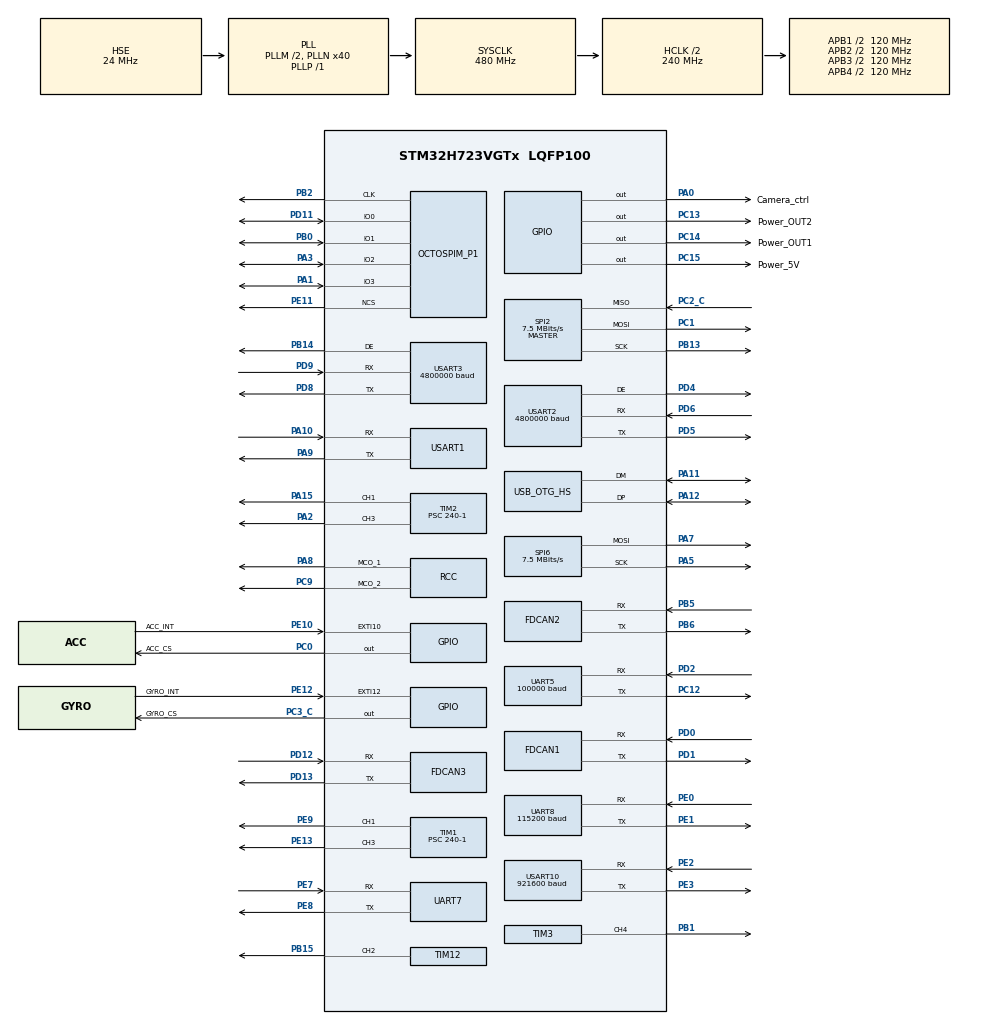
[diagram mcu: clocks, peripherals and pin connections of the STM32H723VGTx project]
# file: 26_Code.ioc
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CORTEX_M7.AccessPermission-Cortex_Memory_Protection_Unit_Region0_Settings=MPU_REGION_PRIV_RO
CORTEX_M7.AccessPermission-Cortex_Memory_Protection_Unit_Region1_Settings=MPU_REGION_FULL_ACCESS
CORTEX_M7.BaseAddress-Cortex_Memory_Protection_Unit_Region0_Settings=0x08000000
CORTEX_M7.BaseAddress-Cortex_Memory_Protection_Unit_Region1_Settings=0x20000000
CORTEX_M7.Enable-Cortex_Memory_Protection_Unit_Region0_Settings=MPU_REGION_ENABLE
CORTEX_M7.Enable-Cortex_Memory_Protection_Unit_Region1_Settings=MPU_REGION_ENABLE
CORTEX_M7.IsCacheable-Cortex_Memory_Protection_Unit_Region0_Settings=MPU_ACCESS_CACHEABLE
CORTEX_M7.MPU_Control=MPU_PRIVILEGED_DEFAULT
CORTEX_M7.Number-Cortex_Memory_Protection_Unit_Region1_Settings=MPU_REGION_NUMBER1
CORTEX_M7.Number-Cortex_Memory_Protection_Unit_Region2_Settings=MPU_REGION_NUMBER2
CORTEX_M7.Number-Cortex_Memory_Protection_Unit_Region3_Settings=MPU_REGION_NUMBER3
CORTEX_M7.Number-Cortex_Memory_Protection_Unit_Region4_Settings=MPU_REGION_NUMBER4
CORTEX_M7.Size-Cortex_Memory_Protection_Unit_Region0_Settings=MPU_REGION_SIZE_1MB
CORTEX_M7.Size-Cortex_Memory_Protection_Unit_Region1_Settings=MPU_REGION_SIZE_128MB
CORTEX_M7.SubRegionDisable-Cortex_Memory_Protection_Unit_Region1_Settings=0xEE
CORTEX_M7.TypeExtField-Cortex_Memory_Protection_Unit_Region0_Settings=MPU_TEX_LEVEL1
CORTEX_M7.TypeExtField-Cortex_Memory_Protection_Unit_Region1_Settings=MPU_TEX_LEVEL1
Dma.Request0=SPI2_RX
Dma.Request1=SPI2_TX
Dma.Request10=USART2_TX
Dma.Request11=USART1_RX
Dma.Request12=USART1_TX
Dma.Request13=UART8_RX
Dma.Request2=UART5_RX
Dma.Request3=UART7_RX
Dma.Request4=UART7_TX
Dma.Request5=USART10_RX
Dma.Request6=USART10_TX
Dma.Request7=USART3_RX
Dma.Request8=USART3_TX
Dma.Request9=USART2_RX
Dma.SPI2_RX.0.Direction=DMA_PERIPH_TO_MEMORY
Dma.SPI2_RX.0.EventEnable=DISABLE
Dma.SPI2_RX.0.FIFOMode=DMA_FIFOMODE_DISABLE
Dma.SPI2_RX.0.Instance=DMA1_Stream0
Dma.SPI2_RX.0.MemDataAlignment=DMA_MDATAALIGN_BYTE
Dma.SPI2_RX.0.MemInc=DMA_MINC_ENABLE
Dma.SPI2_RX.0.Mode=DMA_NORMAL
Dma.SPI2_RX.0.PeriphDataAlignment=DMA_PDATAALIGN_BYTE
Dma.SPI2_RX.0.PeriphInc=DMA_PINC_DISABLE
Dma.SPI2_RX.0.Polarity=HAL_DMAMUX_REQ_GEN_RISING
Dma.SPI2_RX.0.Priority=DMA_PRIORITY_VERY_HIGH
Dma.SPI2_RX.0.RequestNumber=1
Dma.SPI2_RX.0.SignalID=NONE
Dma.SPI2_RX.0.SyncEnable=DISABLE
Dma.SPI2_RX.0.SyncPolarity=HAL_DMAMUX_SYNC_NO_EVENT
Dma.SPI2_RX.0.SyncRequestNumber=1
Dma.SPI2_RX.0.SyncSignalID=NONE
Dma.SPI2_TX.1.Direction=DMA_MEMORY_TO_PERIPH
Dma.SPI2_TX.1.EventEnable=DISABLE
Dma.SPI2_TX.1.FIFOMode=DMA_FIFOMODE_DISABLE
Dma.SPI2_TX.1.Instance=DMA1_Stream1
Dma.SPI2_TX.1.MemDataAlignment=DMA_MDATAALIGN_BYTE
Dma.SPI2_TX.1.MemInc=DMA_MINC_ENABLE
Dma.SPI2_TX.1.Mode=DMA_NORMAL
Dma.SPI2_TX.1.PeriphDataAlignment=DMA_PDATAALIGN_BYTE
Dma.SPI2_TX.1.PeriphInc=DMA_PINC_DISABLE
Dma.SPI2_TX.1.Polarity=HAL_DMAMUX_REQ_GEN_RISING
Dma.SPI2_TX.1.Priority=DMA_PRIORITY_VERY_HIGH
Dma.SPI2_TX.1.RequestNumber=1
Dma.SPI2_TX.1.SignalID=NONE
Dma.SPI2_TX.1.SyncEnable=DISABLE
Dma.SPI2_TX.1.SyncPolarity=HAL_DMAMUX_SYNC_NO_EVENT
Dma.SPI2_TX.1.SyncRequestNumber=1
Dma.SPI2_TX.1.SyncSignalID=NONE
Dma.UART5_RX.2.Direction=DMA_PERIPH_TO_MEMORY
Dma.UART5_RX.2.EventEnable=DISABLE
Dma.UART5_RX.2.FIFOMode=DMA_FIFOMODE_DISABLE
Dma.UART5_RX.2.Instance=DMA1_Stream2
Dma.UART5_RX.2.MemDataAlignment=DMA_MDATAALIGN_BYTE
Dma.UART5_RX.2.MemInc=DMA_MINC_ENABLE
Dma.UART5_RX.2.Mode=DMA_NORMAL
Dma.UART5_RX.2.PeriphDataAlignment=DMA_PDATAALIGN_BYTE
Dma.UART5_RX.2.PeriphInc=DMA_PINC_DISABLE
Dma.UART5_RX.2.Polarity=HAL_DMAMUX_REQ_GEN_RISING
Dma.UART5_RX.2.Priority=DMA_PRIORITY_VERY_HIGH
Dma.UART5_RX.2.RequestNumber=1
Dma.UART5_RX.2.SignalID=NONE
Dma.UART5_RX.2.SyncEnable=DISABLE
Dma.UART5_RX.2.SyncPolarity=HAL_DMAMUX_SYNC_NO_EVENT
Dma.UART5_RX.2.SyncRequestNumber=1
Dma.UART5_RX.2.SyncSignalID=NONE
Dma.UART7_RX.3.Direction=DMA_PERIPH_TO_MEMORY
Dma.UART7_RX.3.EventEnable=DISABLE
Dma.UART7_RX.3.FIFOMode=DMA_FIFOMODE_DISABLE
Dma.UART7_RX.3.Instance=DMA1_Stream3
Dma.UART7_RX.3.MemDataAlignment=DMA_MDATAALIGN_BYTE
Dma.UART7_RX.3.MemInc=DMA_MINC_ENABLE
Dma.UART7_RX.3.Mode=DMA_NORMAL
Dma.UART7_RX.3.PeriphDataAlignment=DMA_PDATAALIGN_BYTE
Dma.UART7_RX.3.PeriphInc=DMA_PINC_DISABLE
Dma.UART7_RX.3.Polarity=HAL_DMAMUX_REQ_GEN_RISING
Dma.UART7_RX.3.Priority=DMA_PRIORITY_VERY_HIGH
Dma.UART7_RX.3.RequestNumber=1
Dma.UART7_RX.3.SignalID=NONE
Dma.UART7_RX.3.SyncEnable=DISABLE
Dma.UART7_RX.3.SyncPolarity=HAL_DMAMUX_SYNC_NO_EVENT
Dma.UART7_RX.3.SyncRequestNumber=1
Dma.UART7_RX.3.SyncSignalID=NONE
Dma.UART7_TX.4.Direction=DMA_MEMORY_TO_PERIPH
Dma.UART7_TX.4.EventEnable=DISABLE
Dma.UART7_TX.4.FIFOMode=DMA_FIFOMODE_DISABLE
Dma.UART7_TX.4.Instance=DMA1_Stream4
Dma.UART7_TX.4.MemDataAlignment=DMA_MDATAALIGN_BYTE
Dma.UART7_TX.4.MemInc=DMA_MINC_ENABLE
Dma.UART7_TX.4.Mode=DMA_NORMAL
Dma.UART7_TX.4.PeriphDataAlignment=DMA_PDATAALIGN_BYTE
Dma.UART7_TX.4.PeriphInc=DMA_PINC_DISABLE
Dma.UART7_TX.4.Polarity=HAL_DMAMUX_REQ_GEN_RISING
Dma.UART7_TX.4.Priority=DMA_PRIORITY_VERY_HIGH
Dma.UART7_TX.4.RequestNumber=1
Dma.UART7_TX.4.SignalID=NONE
Dma.UART7_TX.4.SyncEnable=DISABLE
Dma.UART7_TX.4.SyncPolarity=HAL_DMAMUX_SYNC_NO_EVENT
Dma.UART7_TX.4.SyncRequestNumber=1
Dma.UART7_TX.4.SyncSignalID=NONE
Dma.UART8_RX.13.Direction=DMA_PERIPH_TO_MEMORY
Dma.UART8_RX.13.EventEnable=DISABLE
Dma.UART8_RX.13.FIFOMode=DMA_FIFOMODE_DISABLE
Dma.UART8_RX.13.Instance=DMA2_Stream5
Dma.UART8_RX.13.MemDataAlignment=DMA_MDATAALIGN_BYTE
Dma.UART8_RX.13.MemInc=DMA_MINC_ENABLE
Dma.UART8_RX.13.Mode=DMA_NORMAL
Dma.UART8_RX.13.PeriphDataAlignment=DMA_PDATAALIGN_BYTE
Dma.UART8_RX.13.PeriphInc=DMA_PINC_DISABLE
Dma.UART8_RX.13.Polarity=HAL_DMAMUX_REQ_GEN_RISING
Dma.UART8_RX.13.Priority=DMA_PRIORITY_VERY_HIGH
Dma.UART8_RX.13.RequestNumber=1
Dma.UART8_RX.13.SignalID=NONE
Dma.UART8_RX.13.SyncEnable=DISABLE
Dma.UART8_RX.13.SyncPolarity=HAL_DMAMUX_SYNC_NO_EVENT
Dma.UART8_RX.13.SyncRequestNumber=1
Dma.UART8_RX.13.SyncSignalID=NONE
Dma.USART10_RX.5.Direction=DMA_PERIPH_TO_MEMORY
Dma.USART10_RX.5.EventEnable=DISABLE
Dma.USART10_RX.5.FIFOMode=DMA_FIFOMODE_DISABLE
Dma.USART10_RX.5.Instance=DMA1_Stream5
Dma.USART10_RX.5.MemDataAlignment=DMA_MDATAALIGN_BYTE
Dma.USART10_RX.5.MemInc=DMA_MINC_ENABLE
Dma.USART10_RX.5.Mode=DMA_NORMAL
Dma.USART10_RX.5.PeriphDataAlignment=DMA_PDATAALIGN_BYTE
Dma.USART10_RX.5.PeriphInc=DMA_PINC_DISABLE
Dma.USART10_RX.5.Polarity=HAL_DMAMUX_REQ_GEN_RISING
Dma.USART10_RX.5.Priority=DMA_PRIORITY_VERY_HIGH
Dma.USART10_RX.5.RequestNumber=1
Dma.USART10_RX.5.SignalID=NONE
Dma.USART10_RX.5.SyncEnable=DISABLE
Dma.USART10_RX.5.SyncPolarity=HAL_DMAMUX_SYNC_NO_EVENT
Dma.USART10_RX.5.SyncRequestNumber=1
Dma.USART10_RX.5.SyncSignalID=NONE
Dma.USART10_TX.6.Direction=DMA_MEMORY_TO_PERIPH
Dma.USART10_TX.6.EventEnable=DISABLE
Dma.USART10_TX.6.FIFOMode=DMA_FIFOMODE_DISABLE
Dma.USART10_TX.6.Instance=DMA1_Stream6
Dma.USART10_TX.6.MemDataAlignment=DMA_MDATAALIGN_BYTE
Dma.USART10_TX.6.MemInc=DMA_MINC_ENABLE
Dma.USART10_TX.6.Mode=DMA_NORMAL
Dma.USART10_TX.6.PeriphDataAlignment=DMA_PDATAALIGN_BYTE
Dma.USART10_TX.6.PeriphInc=DMA_PINC_DISABLE
Dma.USART10_TX.6.Polarity=HAL_DMAMUX_REQ_GEN_RISING
Dma.USART10_TX.6.Priority=DMA_PRIORITY_VERY_HIGH
Dma.USART10_TX.6.RequestNumber=1
Dma.USART10_TX.6.SignalID=NONE
Dma.USART10_TX.6.SyncEnable=DISABLE
Dma.USART10_TX.6.SyncPolarity=HAL_DMAMUX_SYNC_NO_EVENT
Dma.USART10_TX.6.SyncRequestNumber=1
Dma.USART10_TX.6.SyncSignalID=NONE
Dma.USART1_RX.11.Direction=DMA_PERIPH_TO_MEMORY
Dma.USART1_RX.11.EventEnable=DISABLE
Dma.USART1_RX.11.FIFOMode=DMA_FIFOMODE_DISABLE
Dma.USART1_RX.11.Instance=DMA2_Stream3
Dma.USART1_RX.11.MemDataAlignment=DMA_MDATAALIGN_BYTE
Dma.USART1_RX.11.MemInc=DMA_MINC_ENABLE
Dma.USART1_RX.11.Mode=DMA_NORMAL
Dma.USART1_RX.11.PeriphDataAlignment=DMA_PDATAALIGN_BYTE
Dma.USART1_RX.11.PeriphInc=DMA_PINC_DISABLE
Dma.USART1_RX.11.Polarity=HAL_DMAMUX_REQ_GEN_RISING
Dma.USART1_RX.11.Priority=DMA_PRIORITY_LOW
Dma.USART1_RX.11.RequestNumber=1
Dma.USART1_RX.11.SignalID=NONE
Dma.USART1_RX.11.SyncEnable=DISABLE
Dma.USART1_RX.11.SyncPolarity=HAL_DMAMUX_SYNC_NO_EVENT
Dma.USART1_RX.11.SyncRequestNumber=1
Dma.USART1_RX.11.SyncSignalID=NONE
Dma.USART1_TX.12.Direction=DMA_MEMORY_TO_PERIPH
Dma.USART1_TX.12.EventEnable=DISABLE
Dma.USART1_TX.12.FIFOMode=DMA_FIFOMODE_DISABLE
Dma.USART1_TX.12.Instance=DMA2_Stream4
Dma.USART1_TX.12.MemDataAlignment=DMA_MDATAALIGN_BYTE
Dma.USART1_TX.12.MemInc=DMA_MINC_ENABLE
Dma.USART1_TX.12.Mode=DMA_NORMAL
Dma.USART1_TX.12.PeriphDataAlignment=DMA_PDATAALIGN_BYTE
Dma.USART1_TX.12.PeriphInc=DMA_PINC_DISABLE
Dma.USART1_TX.12.Polarity=HAL_DMAMUX_REQ_GEN_RISING
Dma.USART1_TX.12.Priority=DMA_PRIORITY_LOW
Dma.USART1_TX.12.RequestNumber=1
Dma.USART1_TX.12.SignalID=NONE
Dma.USART1_TX.12.SyncEnable=DISABLE
Dma.USART1_TX.12.SyncPolarity=HAL_DMAMUX_SYNC_NO_EVENT
Dma.USART1_TX.12.SyncRequestNumber=1
Dma.USART1_TX.12.SyncSignalID=NONE
Dma.USART2_RX.9.Direction=DMA_PERIPH_TO_MEMORY
Dma.USART2_RX.9.EventEnable=DISABLE
Dma.USART2_RX.9.FIFOMode=DMA_FIFOMODE_DISABLE
Dma.USART2_RX.9.Instance=DMA2_Stream1
Dma.USART2_RX.9.MemDataAlignment=DMA_MDATAALIGN_BYTE
Dma.USART2_RX.9.MemInc=DMA_MINC_ENABLE
Dma.USART2_RX.9.Mode=DMA_NORMAL
Dma.USART2_RX.9.PeriphDataAlignment=DMA_PDATAALIGN_BYTE
Dma.USART2_RX.9.PeriphInc=DMA_PINC_DISABLE
Dma.USART2_RX.9.Polarity=HAL_DMAMUX_REQ_GEN_RISING
Dma.USART2_RX.9.Priority=DMA_PRIORITY_VERY_HIGH
Dma.USART2_RX.9.RequestNumber=1
Dma.USART2_RX.9.SignalID=NONE
Dma.USART2_RX.9.SyncEnable=DISABLE
Dma.USART2_RX.9.SyncPolarity=HAL_DMAMUX_SYNC_NO_EVENT
Dma.USART2_RX.9.SyncRequestNumber=1
Dma.USART2_RX.9.SyncSignalID=NONE
Dma.USART2_TX.10.Direction=DMA_MEMORY_TO_PERIPH
Dma.USART2_TX.10.EventEnable=DISABLE
Dma.USART2_TX.10.FIFOMode=DMA_FIFOMODE_DISABLE
Dma.USART2_TX.10.Instance=DMA2_Stream2
Dma.USART2_TX.10.MemDataAlignment=DMA_MDATAALIGN_BYTE
Dma.USART2_TX.10.MemInc=DMA_MINC_ENABLE
Dma.USART2_TX.10.Mode=DMA_NORMAL
Dma.USART2_TX.10.PeriphDataAlignment=DMA_PDATAALIGN_BYTE
Dma.USART2_TX.10.PeriphInc=DMA_PINC_DISABLE
Dma.USART2_TX.10.Polarity=HAL_DMAMUX_REQ_GEN_RISING
Dma.USART2_TX.10.Priority=DMA_PRIORITY_VERY_HIGH
Dma.USART2_TX.10.RequestNumber=1
Dma.USART2_TX.10.SignalID=NONE
Dma.USART2_TX.10.SyncEnable=DISABLE
Dma.USART2_TX.10.SyncPolarity=HAL_DMAMUX_SYNC_NO_EVENT
Dma.USART2_TX.10.SyncRequestNumber=1
Dma.USART2_TX.10.SyncSignalID=NONE
Dma.USART3_RX.7.Direction=DMA_PERIPH_TO_MEMORY
Dma.USART3_RX.7.EventEnable=DISABLE
Dma.USART3_RX.7.FIFOMode=DMA_FIFOMODE_DISABLE
Dma.USART3_RX.7.Instance=DMA1_Stream7
Dma.USART3_RX.7.MemDataAlignment=DMA_MDATAALIGN_BYTE
Dma.USART3_RX.7.MemInc=DMA_MINC_ENABLE
Dma.USART3_RX.7.Mode=DMA_NORMAL
Dma.USART3_RX.7.PeriphDataAlignment=DMA_PDATAALIGN_BYTE
Dma.USART3_RX.7.PeriphInc=DMA_PINC_DISABLE
Dma.USART3_RX.7.Polarity=HAL_DMAMUX_REQ_GEN_RISING
Dma.USART3_RX.7.Priority=DMA_PRIORITY_VERY_HIGH
Dma.USART3_RX.7.RequestNumber=1
Dma.USART3_RX.7.SignalID=NONE
Dma.USART3_RX.7.SyncEnable=DISABLE
Dma.USART3_RX.7.SyncPolarity=HAL_DMAMUX_SYNC_NO_EVENT
Dma.USART3_RX.7.SyncRequestNumber=1
Dma.USART3_RX.7.SyncSignalID=NONE
Dma.USART3_TX.8.Direction=DMA_MEMORY_TO_PERIPH
Dma.USART3_TX.8.EventEnable=DISABLE
Dma.USART3_TX.8.FIFOMode=DMA_FIFOMODE_DISABLE
Dma.USART3_TX.8.Instance=DMA2_Stream0
Dma.USART3_TX.8.MemDataAlignment=DMA_MDATAALIGN_BYTE
Dma.USART3_TX.8.MemInc=DMA_MINC_ENABLE
Dma.USART3_TX.8.Mode=DMA_NORMAL
Dma.USART3_TX.8.PeriphDataAlignment=DMA_PDATAALIGN_BYTE
Dma.USART3_TX.8.PeriphInc=DMA_PINC_DISABLE
Dma.USART3_TX.8.Polarity=HAL_DMAMUX_REQ_GEN_RISING
Dma.USART3_TX.8.Priority=DMA_PRIORITY_VERY_HIGH
Dma.USART3_TX.8.RequestNumber=1
Dma.USART3_TX.8.SignalID=NONE
Dma.USART3_TX.8.SyncEnable=DISABLE
Dma.USART3_TX.8.SyncPolarity=HAL_DMAMUX_SYNC_NO_EVENT
Dma.USART3_TX.8.SyncRequestNumber=1
Dma.USART3_TX.8.SyncSignalID=NONE
FDCAN1.AutoRetransmission=DISABLE
FDCAN1.CalculateBaudRateNominal=1000000
FDCAN1.CalculateTimeBitNominal=1000
FDCAN1.CalculateTimeQuantumNominal=25.0
FDCAN1.DataPrescaler=3
FDCAN1.DataSyncJumpWidth=10
FDCAN1.DataTimeSeg1=29
FDCAN1.DataTimeSeg2=10
FDCAN1.NominalPrescaler=3
FDCAN1.NominalSyncJumpWidth=10
FDCAN1.NominalTimeSeg1=29
FDCAN1.NominalTimeSeg2=10
FDCAN1.RxFifo0ElmtsNbr=4
FDCAN1.StdFiltersNbr=1
FDCAN1.TxFifoQueueElmtsNbr=32
FDCAN2.AutoRetransmission=DISABLE
FDCAN2.CalculateBaudRateNominal=1000000
FDCAN2.CalculateTimeBitNominal=1000
FDCAN2.CalculateTimeQuantumNominal=25.0
FDCAN2.DataPrescaler=3
FDCAN2.DataSyncJumpWidth=10
FDCAN2.DataTimeSeg1=29
FDCAN2.DataTimeSeg2=10
FDCAN2.MessageRAMOffset=0x406
FDCAN2.NominalPrescaler=3
FDCAN2.NominalSyncJumpWidth=10
FDCAN2.NominalTimeSeg1=29
FDCAN2.NominalTimeSeg2=10
FDCAN2.RxFifo0ElmtsNbr=4
FDCAN2.StdFiltersNbr=1
FDCAN2.TxFifoQueueElmtsNbr=32
FDCAN3.AutoRetransmission=DISABLE
FDCAN3.CalculateBaudRateNominal=1000000
FDCAN3.CalculateTimeBitNominal=1000
FDCAN3.CalculateTimeQuantumNominal=25.0
FDCAN3.DataPrescaler=3
FDCAN3.DataSyncJumpWidth=10
FDCAN3.DataTimeSeg1=29
FDCAN3.DataTimeSeg2=10
FDCAN3.MessageRAMOffset=0x812
FDCAN3.NominalPrescaler=3
FDCAN3.NominalSyncJumpWidth=10
FDCAN3.NominalTimeSeg1=29
FDCAN3.NominalTimeSeg2=10
FDCAN3.RxFifo0ElmtsNbr=4
FDCAN3.StdFiltersNbr=1
FDCAN3.TxFifoQueueElmtsNbr=32
FREERTOS.Tasks01=Remote_control,24,512,Remote_control_Task,Default,NULL,Dynamic,NULL,NULL;Gimbal,8,512,Gimbal_Task,Default,NULL,Dynamic,NULL,NULL;Chassis,8,1024,Chassis_Task,Default,NULL,Dynamic,NULL,NULL;Motor_control,8,256,Motor_control_Task,Default,NULL,Dynamic,NULL,NULL;Shoot,8,256,Shoot_Task,Default,NULL,Dynamic,NULL,NULL;Referee,8,512,Referee_Task,Default,NULL,Dynamic,NULL,NULL;Log_and_debug,8,256,Log_and_debug_Task,Default,NULL,Dynamic,NULL,NULL
FREERTOS.configENABLE_FPU=1
FREERTOS.configUSE_IDLE_HOOK=1
Mcu.Family=STM32H7
Mcu.Name=STM32H723VGTx
Mcu.Package=LQFP100
NVIC.DMA1_Stream0_IRQn=true\:5\:0\:false\:false\:true\:true\:false\:true\:true
NVIC.DMA1_Stream1_IRQn=true\:5\:0\:false\:false\:true\:true\:false\:true\:true
NVIC.DMA1_Stream2_IRQn=true\:5\:0\:false\:false\:true\:true\:false\:true\:true
NVIC.DMA1_Stream3_IRQn=true\:5\:0\:true\:false\:true\:true\:false\:true\:true
NVIC.DMA1_Stream4_IRQn=true\:5\:0\:true\:false\:true\:true\:false\:true\:true
NVIC.DMA1_Stream5_IRQn=true\:5\:0\:false\:false\:true\:true\:false\:true\:true
NVIC.DMA1_Stream6_IRQn=true\:5\:0\:false\:false\:true\:true\:false\:true\:true
NVIC.DMA1_Stream7_IRQn=true\:5\:0\:false\:false\:true\:true\:false\:true\:true
NVIC.DMA2_Stream0_IRQn=true\:5\:0\:false\:false\:true\:true\:false\:true\:true
NVIC.DMA2_Stream1_IRQn=true\:5\:0\:false\:false\:true\:true\:false\:true\:true
NVIC.DMA2_Stream2_IRQn=true\:5\:0\:false\:false\:true\:true\:false\:true\:true
NVIC.DMA2_Stream3_IRQn=true\:5\:0\:false\:false\:true\:true\:false\:true\:true
NVIC.DMA2_Stream4_IRQn=true\:5\:0\:false\:false\:true\:true\:false\:true\:true
NVIC.DMA2_Stream5_IRQn=true\:5\:0\:false\:false\:true\:true\:false\:true\:true
NVIC.FDCAN1_IT0_IRQn=true\:5\:0\:false\:false\:true\:true\:true\:true\:true
NVIC.FDCAN1_IT1_IRQn=true\:5\:0\:false\:false\:true\:true\:true\:true\:true
NVIC.FDCAN2_IT0_IRQn=true\:5\:0\:false\:false\:true\:true\:true\:true\:true
NVIC.FDCAN2_IT1_IRQn=true\:5\:0\:false\:false\:true\:true\:true\:true\:true
NVIC.FDCAN3_IT0_IRQn=true\:5\:0\:false\:false\:true\:true\:true\:true\:true
NVIC.FDCAN3_IT1_IRQn=true\:5\:0\:false\:false\:true\:true\:true\:true\:true
NVIC.OTG_HS_IRQn=true\:5\:0\:false\:false\:true\:true\:true\:true\:true
NVIC.PriorityGroup=NVIC_PRIORITYGROUP_4
NVIC.SPI2_IRQn=true\:5\:0\:false\:false\:true\:true\:true\:true\:true
NVIC.TIM23_IRQn=true\:15\:0\:true\:false\:true\:false\:false\:true\:true
NVIC.TIM8_BRK_TIM12_IRQn=true\:5\:0\:false\:false\:true\:true\:true\:true\:true
NVIC.TIM8_TRG_COM_TIM14_IRQn=true\:5\:0\:false\:false\:true\:true\:true\:true\:true
NVIC.TIM8_UP_TIM13_IRQn=true\:5\:0\:true\:false\:true\:true\:true\:true\:true
NVIC.TimeBase=TIM23_IRQn
NVIC.TimeBaseIP=TIM23
NVIC.UART5_IRQn=true\:5\:0\:false\:false\:true\:true\:true\:true\:true
NVIC.UART7_IRQn=true\:5\:0\:true\:false\:true\:true\:true\:true\:true
NVIC.UART8_IRQn=true\:5\:0\:false\:false\:true\:true\:true\:true\:true
NVIC.USART10_IRQn=true\:5\:0\:false\:false\:true\:true\:true\:true\:true
NVIC.USART1_IRQn=true\:5\:0\:false\:false\:true\:true\:true\:true\:true
NVIC.USART2_IRQn=true\:5\:0\:false\:false\:true\:true\:true\:true\:true
NVIC.USART3_IRQn=true\:5\:0\:false\:false\:true\:true\:true\:true\:true
OCTOSPI2.ClockMode=HAL_OSPI_CLOCK_MODE_3
OCTOSPI2.ClockPrescaler=3
OCTOSPI2.DeviceSize=23
OCTOSPI2.DeviceType=SPI_DEVICE_FLASH
OCTOSPI2.FifoThreshold=8
OCTOSPI2.SampleShifting=HAL_OSPI_SAMPLE_SHIFTING_HALFCYCLE
PA0.GPIO_Label=Camera_ctrl
PA0.GPIO_PuPd=GPIO_PULLDOWN
PA0.GPIO_Speed=GPIO_SPEED_FREQ_VERY_HIGH
PA0.PinState=GPIO_PIN_SET
PA0.Signal=GPIO_Output
PA1.Mode=OCTOSPI2_IOL_Port1L
PA1.Signal=OCTOSPIM_P1_IO3
PA10.Mode=Asynchronous
PA10.Signal=USART1_RX
PA11.Mode=Device_Only_FS
PA11.Signal=USB_OTG_HS_DM
PA12.Mode=Device_Only_FS
PA12.Signal=USB_OTG_HS_DP
PA13(JTMS/SWDIO).Mode=Serial_Wire
PA13(JTMS/SWDIO).Signal=DEBUG_JTMS-SWDIO
PA14(JTCK/SWCLK).Mode=Serial_Wire
PA14(JTCK/SWCLK).Signal=DEBUG_JTCK-SWCLK
PA15(JTDI).Signal=S_TIM2_CH1_ETR
PA2.Signal=S_TIM2_CH3
PA3.Mode=OCTOSPI2_IOL_Port1L
PA3.Signal=OCTOSPIM_P1_IO2
PA5.GPIO_Speed=GPIO_SPEED_FREQ_VERY_HIGH
PA5.Mode=TX_Only_Simplex_Unidirect_Master
PA5.Signal=SPI6_SCK
PA7.Mode=TX_Only_Simplex_Unidirect_Master
PA7.Signal=SPI6_MOSI
PA8.Mode=Clock-out-1
PA8.Signal=RCC_MCO_1
PA9.Mode=Asynchronous
PA9.Signal=USART1_TX
PB0.Mode=OCTOSPI2_IOL_Port1L
PB0.Signal=OCTOSPIM_P1_IO1
PB1.Signal=S_TIM3_CH4
PB13.Mode=Full_Duplex_Master
PB13.Signal=SPI2_SCK
PB14.Mode=Hardware Flow Control (RS485)
PB14.Signal=USART3_DE
PB15.Signal=S_TIM12_CH2
PB2.Mode=O2_P1_CLK
PB2.Signal=OCTOSPIM_P1_CLK
PB5.Mode=FDCAN_Activate
PB5.Signal=FDCAN2_RX
PB6.Mode=FDCAN_Activate
PB6.Signal=FDCAN2_TX
PC0.GPIO_Label=ACC_CS
PC0.GPIO_Speed=GPIO_SPEED_FREQ_VERY_HIGH
PC0.PinState=GPIO_PIN_SET
PC0.Signal=GPIO_Output
PC1.Mode=Full_Duplex_Master
PC1.Signal=SPI2_MOSI
PC12.Mode=Asynchronous
PC12.Signal=UART5_TX
PC13.GPIO_Label=Power_OUT2
PC13.PinState=GPIO_PIN_SET
PC13.Signal=GPIO_Output
PC14-OSC32_IN.GPIO_Label=Power_OUT1
PC14-OSC32_IN.PinState=GPIO_PIN_SET
PC14-OSC32_IN.Signal=GPIO_Output
PC15-OSC32_OUT.GPIO_Label=Power_5V
PC15-OSC32_OUT.Signal=GPIO_Output
PC2_C.Mode=Full_Duplex_Master
PC2_C.Signal=SPI2_MISO
PC3_C.GPIO_Label=GYRO_CS
PC3_C.GPIO_Speed=GPIO_SPEED_FREQ_VERY_HIGH
PC3_C.PinState=GPIO_PIN_SET
PC3_C.Signal=GPIO_Output
PC9.Mode=Clock-out-2
PC9.Signal=RCC_MCO_2
PD0.Mode=FDCAN_Activate
PD0.Signal=FDCAN1_RX
PD1.Mode=FDCAN_Activate
PD1.Signal=FDCAN1_TX
PD11.Mode=OCTOSPI2_IOL_Port1L
PD11.Signal=OCTOSPIM_P1_IO0
PD12.Mode=FDCAN_Activate
PD12.Signal=FDCAN3_RX
PD13.Mode=FDCAN_Activate
PD13.Signal=FDCAN3_TX
PD2.Mode=Asynchronous
PD2.Signal=UART5_RX
PD4.Mode=Hardware Flow Control (RS485)
PD4.Signal=USART2_DE
PD5.Mode=Asynchronous
PD5.Signal=USART2_TX
PD6.Mode=Asynchronous
PD6.Signal=USART2_RX
PD8.Mode=Asynchronous
PD8.Signal=USART3_TX
PD9.Mode=Asynchronous
PD9.Signal=USART3_RX
PE0.GPIO_Speed=GPIO_SPEED_FREQ_VERY_HIGH
PE0.Mode=Asynchronous
PE0.Signal=UART8_RX
PE1.GPIO_Speed=GPIO_SPEED_FREQ_VERY_HIGH
PE1.Mode=Asynchronous
PE1.Signal=UART8_TX
PE10.GPIO_Label=ACC_INT
PE10.Signal=GPXTI10
PE11.Mode=OCTOSPI2_Port1_NCS
PE11.Signal=OCTOSPIM_P1_NCS
PE12.GPIO_Label=GYRO_INT
PE12.Signal=GPXTI12
PE13.Signal=S_TIM1_CH3
PE2.GPIO_Speed=GPIO_SPEED_FREQ_VERY_HIGH
PE2.Mode=Asynchronous
PE2.Signal=USART10_RX
PE3.GPIO_Speed=GPIO_SPEED_FREQ_VERY_HIGH
PE3.Mode=Asynchronous
PE3.Signal=USART10_TX
PE7.GPIO_Speed=GPIO_SPEED_FREQ_VERY_HIGH
PE7.Mode=Asynchronous
PE7.Signal=UART7_RX
PE8.GPIO_Speed=GPIO_SPEED_FREQ_VERY_HIGH
PE8.Mode=Asynchronous
PE8.Signal=UART7_TX
PE9.Signal=S_TIM1_CH1
PH0-OSC_IN.Mode=HSE-External-Oscillator
PH0-OSC_IN.Signal=RCC_OSC_IN
PH1-OSC_OUT.Mode=HSE-External-Oscillator
PH1-OSC_OUT.Signal=RCC_OSC_OUT
ProjectManager.HeapSize=0x200
ProjectManager.StackSize=0x400
ProjectManager.TargetToolchain=Makefile
RCC.ADCFreq_Value=48375000
RCC.APB1Freq_Value=120000000
RCC.APB2Freq_Value=120000000
RCC.APB3Freq_Value=120000000
RCC.APB4Freq_Value=120000000
RCC.CortexFreq_Value=480000000
RCC.D1PPRE=RCC_APB3_DIV2
RCC.D2PPRE1=RCC_APB1_DIV2
RCC.D2PPRE2=RCC_APB2_DIV2
RCC.D3PPRE=RCC_APB4_DIV2
RCC.DIVM1=2
RCC.DIVN1=40
RCC.DIVP1=1
RCC.DIVQ1=4
RCC.HCLKFreq_Value=240000000
RCC.HPRE=RCC_HCLK_DIV2
RCC.HSE_VALUE=24000000
RCC.PLLFRACN=0
RCC.PLLSourceVirtual=RCC_PLLSOURCE_HSE
RCC.SYSCLKFreq_VALUE=480000000
RCC.SYSCLKSource=RCC_SYSCLKSOURCE_PLLCLK
RCC.USBCLockSelection=RCC_USBCLKSOURCE_HSI48
RCC.USBFreq_Value=48000000
SH.S_TIM12_CH2.0=TIM12_CH2,PWM Generation2 CH2
SH.S_TIM1_CH1.0=TIM1_CH1,PWM Generation1 CH1
SH.S_TIM1_CH3.0=TIM1_CH3,PWM Generation3 CH3
SH.S_TIM2_CH1_ETR.0=TIM2_CH1,PWM Generation1 CH1
SH.S_TIM2_CH3.0=TIM2_CH3,PWM Generation3 CH3
SH.S_TIM3_CH4.0=TIM3_CH4,PWM Generation4 CH4
SPI2.BaudRatePrescaler=SPI_BAUDRATEPRESCALER_16
SPI2.CLKPhase=SPI_PHASE_2EDGE
SPI2.CLKPolarity=SPI_POLARITY_HIGH
SPI2.CalculateBaudRate=7.5 MBits/s
SPI2.DataSize=SPI_DATASIZE_8BIT
SPI2.Direction=SPI_DIRECTION_2LINES
SPI2.Mode=SPI_MODE_MASTER
SPI2.VirtualType=VM_MASTER
SPI6.BaudRatePrescaler=SPI_BAUDRATEPRESCALER_16
SPI6.CLKPhase=SPI_PHASE_2EDGE
SPI6.CLKPolarity=SPI_POLARITY_HIGH
SPI6.CalculateBaudRate=7.5 MBits/s
SPI6.DataSize=SPI_DATASIZE_8BIT
SPI6.Direction=SPI_DIRECTION_2LINES_TXONLY
SPI6.Mode=SPI_MODE_MASTER
SPI6.VirtualType=VM_MASTER
TIM1.Channel-PWM\ Generation1\ CH1=TIM_CHANNEL_1
TIM1.Channel-PWM\ Generation3\ CH3=TIM_CHANNEL_3
TIM1.Period=2000-1
TIM1.Prescaler=240-1
TIM12.Channel-PWM\ Generation2\ CH2=TIM_CHANNEL_2
TIM12.Period=250-1
TIM12.Prescaler=240-1
TIM13.Period=100-1
TIM13.Prescaler=2400-1
TIM14.Period=500-1
TIM14.Prescaler=2400-1
TIM2.Channel-PWM\ Generation1\ CH1=TIM_CHANNEL_1
TIM2.Channel-PWM\ Generation3\ CH3=TIM_CHANNEL_3
TIM2.Period=2000-1
TIM2.Prescaler=240-1
TIM3.Channel-PWM\ Generation4\ CH4=TIM_CHANNEL_4
TIM3.Period=20000-1
TIM3.Prescaler=240-1
UART5.BaudRate=100000
UART5.Parity=PARITY_EVEN
UART5.StopBits=UART_STOPBITS_1
UART5.WordLength=WORDLENGTH_9B
UART8.BaudRate=115200
UART8.Mode=MODE_RX
USART1.VirtualMode-Asynchronous=VM_ASYNC
USART10.BaudRate=921600
USART10.VirtualMode=VM_ASYNC
USART2.BaudRate=4800000
USART2.VirtualMode-Asynchronous=VM_ASYNC
USART2.VirtualMode-Hardware\ Flow\ Control\ (RS485)=VM_ASYNC
USART3.BaudRate=4800000
USART3.VirtualMode-Asynchronous=VM_ASYNC
USART3.VirtualMode-Hardware\ Flow\ Control\ (RS485)=VM_ASYNC
USB_DEVICE.CLASS_NAME_HS=CDC
USB_DEVICE.VirtualMode=Cdc
USB_DEVICE.VirtualModeHS=Cdc_HS
USB_OTG_HS.VirtualMode-Device_Only_FS=Device_Only_FS
VP_FREERTOS_VS_CMSIS_V2.Mode=CMSIS_V2
VP_IWDG1_VS_IWDG.Mode=IWDG_Activate
VP_MEMORYMAP_VS_MEMORYMAP.Mode=CurAppReg
VP_OCTOSPI2_VS_quad.Mode=quad_mode
VP_SYS_VS_tim23.Mode=TIM23
VP_TIM12_VS_ClockSourceINT.Mode=Internal
VP_TIM13_VS_ClockSourceINT.Mode=Enable_Timer
VP_TIM14_VS_ClockSourceINT.Mode=Enable_Timer
VP_USB_DEVICE_VS_USB_DEVICE_CDC_HS.Mode=CDC_HS
board=custom

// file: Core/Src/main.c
/* USER CODE BEGIN Header */
/**
  ******************************************************************************
  * @file           : main.c
  * @brief          : Main program body
  ******************************************************************************
  * @attention
  *
  * Copyright (c) 2025 STMicroelectronics.
  * All rights reserved.
  *
  * This software is licensed under terms that can be found in the LICENSE file
  * in the root directory of this software component.
  * If no LICENSE file comes with this software, it is provided AS-IS.
  *
  ******************************************************************************
  */
/* USER CODE END Header */
#include "main.h"
#include "cmsis_os.h"
#include "dma.h"
#include "fdcan.h"
#include "iwdg.h"
#include "memorymap.h"
#include "octospi.h"
#include "spi.h"
#include "tim.h"
#include "usart.h"
#include "usb_device.h"
#include "gpio.h"

/* USER CODE BEGIN Includes */
#include "UART_data_txrx.h"
#include "CAN_receive_send.h"

#include "motor.h"
#include "supercup.h"
#include "IMU_updata.h"
#include "dm_imu.h"
#include "LED.h"
#include "Power_switch.h"
#include "referee_system.h"

#include "music.h"
#include "Chassis_helm.h"
#include "Gimbal.h"
#include "shoot.h"
#include "Auto_control.h"
#include "Global_status.h"

/* USER CODE END Includes */

/* USER CODE BEGIN PV */
static uint32_t tick_ms=0;
/* USER CODE END PV */

void SystemClock_Config(void);
static void MPU_Config(void);
void MX_FREERTOS_Init(void);

/* USER CODE BEGIN 0 */
HAL_StatusTypeDef ITsta;
extern DMA_HandleTypeDef hdma_uart7_rx;
/* USER CODE END 0 */

int main(void)
{

  /* MPU Configuration--------------------------------------------------------*/
  MPU_Config();

  /* MCU Configuration--------------------------------------------------------*/

  /* Reset of all peripherals, Initializes the Flash interface and the Systick. */
  HAL_Init();

  /* Configure the system clock */
  SystemClock_Config();

  /* Initialize all configured peripherals */
  MX_GPIO_Init();
  MX_DMA_Init();
  MX_FDCAN1_Init();
  MX_FDCAN2_Init();
  MX_SPI2_Init();
  MX_TIM3_Init();
  MX_TIM13_Init();
  MX_TIM14_Init();
  MX_SPI6_Init();
  MX_UART5_Init();
  MX_UART7_Init();
  MX_USART10_UART_Init();
  MX_FDCAN3_Init();
  MX_OCTOSPI2_Init();
  MX_IWDG1_Init();
  MX_USART2_UART_Init();
  MX_USART3_UART_Init();
  MX_USART1_UART_Init();
  MX_TIM12_Init();
  MX_TIM1_Init();
  MX_TIM2_Init();
  MX_UART8_Init();
  /* USER CODE BEGIN 2 */
 HAL_IWDG_Refresh(&hiwdg1);
 /*INIT*/
  Uart_Init();
  Can_Init();
  Refree_system_init();

  IMU_Init();
  HAL_IWDG_Refresh(&hiwdg1);
  HAL_GPIO_WritePin(Power_5V_GPIO_Port, Power_5V_Pin, GPIO_PIN_SET);
  HAL_GPIO_WritePin(Camera_ctrl_GPIO_Port, Camera_ctrl_Pin, GPIO_PIN_SET);
  HAL_TIM_Base_Start_IT(&htim14);
  /* USER CODE END 2 */

  /* Init scheduler */
  osKernelInitialize();

  /* Call init function for freertos objects (in cmsis_os2.c) */
  MX_FREERTOS_Init();

  /* Start scheduler */
  osKernelStart();

  /* We should never get here as control is now taken by the scheduler */

  /* Infinite loop */
  while (1)
  {

  }
}

void SystemClock_Config(void)
{
  RCC_OscInitTypeDef RCC_OscInitStruct = {0};
  RCC_ClkInitTypeDef RCC_ClkInitStruct = {0};

  /** Supply configuration update enable
  */
  HAL_PWREx_ConfigSupply(PWR_LDO_SUPPLY);

  /** Configure the main internal regulator output voltage
  */
  __HAL_PWR_VOLTAGESCALING_CONFIG(PWR_REGULATOR_VOLTAGE_SCALE0);

  while(!__HAL_PWR_GET_FLAG(PWR_FLAG_VOSRDY)) {}

  /** Initializes the RCC Oscillators according to the specified parameters
  * in the RCC_OscInitTypeDef structure.
  */
  RCC_OscInitStruct.OscillatorType = RCC_OSCILLATORTYPE_HSI48|RCC_OSCILLATORTYPE_HSI
                              |RCC_OSCILLATORTYPE_LSI|RCC_OSCILLATORTYPE_HSE;
  RCC_OscInitStruct.HSEState = RCC_HSE_ON;
  RCC_OscInitStruct.HSIState = RCC_HSI_DIV1;
  RCC_OscInitStruct.HSICalibrationValue = 64;
  RCC_OscInitStruct.LSIState = RCC_LSI_ON;
  RCC_OscInitStruct.HSI48State = RCC_HSI48_ON;
  RCC_OscInitStruct.PLL.PLLState = RCC_PLL_ON;
  RCC_OscInitStruct.PLL.PLLSource = RCC_PLLSOURCE_HSE;
  RCC_OscInitStruct.PLL.PLLM = 2;
  RCC_OscInitStruct.PLL.PLLN = 40;
  RCC_OscInitStruct.PLL.PLLP = 1;
  RCC_OscInitStruct.PLL.PLLQ = 4;
  RCC_OscInitStruct.PLL.PLLR = 2;
  RCC_OscInitStruct.PLL.PLLRGE = RCC_PLL1VCIRANGE_3;
  RCC_OscInitStruct.PLL.PLLVCOSEL = RCC_PLL1VCOWIDE;
  RCC_OscInitStruct.PLL.PLLFRACN = 0;
  if (HAL_RCC_OscConfig(&RCC_OscInitStruct) != HAL_OK)
  {
    Error_Handler();
  }

  /** Initializes the CPU, AHB and APB buses clocks
  */
  RCC_ClkInitStruct.ClockType = RCC_CLOCKTYPE_HCLK|RCC_CLOCKTYPE_SYSCLK
                              |RCC_CLOCKTYPE_PCLK1|RCC_CLOCKTYPE_PCLK2
                              |RCC_CLOCKTYPE_D3PCLK1|RCC_CLOCKTYPE_D1PCLK1;
  RCC_ClkInitStruct.SYSCLKSource = RCC_SYSCLKSOURCE_PLLCLK;
  RCC_ClkInitStruct.SYSCLKDivider = RCC_SYSCLK_DIV1;
  RCC_ClkInitStruct.AHBCLKDivider = RCC_HCLK_DIV2;
  RCC_ClkInitStruct.APB3CLKDivider = RCC_APB3_DIV2;
  RCC_ClkInitStruct.APB1CLKDivider = RCC_APB1_DIV2;
  RCC_ClkInitStruct.APB2CLKDivider = RCC_APB2_DIV2;
  RCC_ClkInitStruct.APB4CLKDivider = RCC_APB4_DIV2;

  if (HAL_RCC_ClockConfig(&RCC_ClkInitStruct, FLASH_LATENCY_3) != HAL_OK)
  {
    Error_Handler();
  }
  HAL_RCC_MCOConfig(RCC_MCO1, RCC_MCO1SOURCE_HSI, RCC_MCODIV_1);
  HAL_RCC_MCOConfig(RCC_MCO2, RCC_MCO2SOURCE_SYSCLK, RCC_MCODIV_1);
}

 /* MPU Configuration */

void MPU_Config(void)
{
  MPU_Region_InitTypeDef MPU_InitStruct = {0};

  /* Disables the MPU */
  HAL_MPU_Disable();

  /** Initializes and configures the Region and the memory to be protected
  */
  MPU_InitStruct.Enable = MPU_REGION_ENABLE;
  MPU_InitStruct.Number = MPU_REGION_NUMBER0;
  MPU_InitStruct.BaseAddress = 0x08000000;
  MPU_InitStruct.Size = MPU_REGION_SIZE_1MB;
  MPU_InitStruct.SubRegionDisable = 0x0;
  MPU_InitStruct.TypeExtField = MPU_TEX_LEVEL1;
  MPU_InitStruct.AccessPermission = MPU_REGION_PRIV_RO;
  MPU_InitStruct.DisableExec = MPU_INSTRUCTION_ACCESS_ENABLE;
  MPU_InitStruct.IsShareable = MPU_ACCESS_NOT_SHAREABLE;
  MPU_InitStruct.IsCacheable = MPU_ACCESS_CACHEABLE;
  MPU_InitStruct.IsBufferable = MPU_ACCESS_NOT_BUFFERABLE;

  HAL_MPU_ConfigRegion(&MPU_InitStruct);

  /** Initializes and configures the Region and the memory to be protected
  */
  MPU_InitStruct.Number = MPU_REGION_NUMBER1;
  MPU_InitStruct.BaseAddress = 0x20000000;
  MPU_InitStruct.Size = MPU_REGION_SIZE_128MB;
  MPU_InitStruct.SubRegionDisable = 0xEE;
  MPU_InitStruct.AccessPermission = MPU_REGION_FULL_ACCESS;
  MPU_InitStruct.IsCacheable = MPU_ACCESS_NOT_CACHEABLE;

  HAL_MPU_ConfigRegion(&MPU_InitStruct);

  /** Initializes and configures the Region and the memory to be protected
  */
  MPU_InitStruct.Number = MPU_REGION_NUMBER2;
  HAL_MPU_ConfigRegion(&MPU_InitStruct);

  /** Initializes and configures the Region and the memory to be protected
  */
  MPU_InitStruct.Number = MPU_REGION_NUMBER3;
  HAL_MPU_ConfigRegion(&MPU_InitStruct);

  /** Initializes and configures the Region and the memory to be protected
  */
  MPU_InitStruct.Number = MPU_REGION_NUMBER4;
  HAL_MPU_ConfigRegion(&MPU_InitStruct);
  /* Enables the MPU */
  HAL_MPU_Enable(MPU_PRIVILEGED_DEFAULT);

}

void HAL_TIM_PeriodElapsedCallback(TIM_HandleTypeDef *htim)
{
  /* USER CODE BEGIN Callback 0 */
  static int i = 0;
  /* USER CODE END Callback 0 */
  if (htim->Instance == TIM23)
  {
    HAL_IncTick();
  }
  /* USER CODE BEGIN Callback 1 */
  uint8_t history = 4;
  if (htim->Instance == TIM13) // 1000HZ
  {
    IMU_Updata();
    // tick_ms++;
    // if(tick_ms%4==0)
		// 	{
		// 		IMU_RequestData(&hfdcan3,0x01,4);
		// 	}
		// 	else if(tick_ms%3==0)
		// 	{
		// 		IMU_RequestData(&hfdcan3,0x01,3);
		// 	}
		// 	else if(tick_ms%2==0)
		// 	{
		// 		IMU_RequestData(&hfdcan3,0x01,2);
		// 	}
    //   else if(tick_ms%1==0)
		// 	{
		// 		IMU_RequestData(&hfdcan3,0x01,1);
		// 	}

		// 	if(tick_ms>1000)
		// 		tick_ms=0;
  }
  else if (htim->Instance == TIM14) // 200Hz
  {
    if (i == 0)
    {
     // HAL_GPIO_WritePin(Camera_ctrl_GPIO_Port, Camera_ctrl_Pin, GPIO_PIN_SET);
      STM32_to_MINIPC(dm_imu_data.yaw * DEG_TO_RAD,
                      -dm_imu_data.pitch * DEG_TO_RAD,
                      (cos(dm_imu_data.pitch * DEG_TO_RAD) * dm_imu_data.gyro[2] - sin(dm_imu_data.pitch * DEG_TO_RAD) * dm_imu_data.gyro[0]) * DEG_TO_RAD);
      i = 1;
    }
    else
    {
     // HAL_GPIO_WritePin(Camera_ctrl_GPIO_Port, Camera_ctrl_Pin, GPIO_PIN_RESET);
      i = 0;
    }
  }
  /* USER CODE END Callback 1 */
}

void Error_Handler(void)
{
  __disable_irq();
  while (1)
  {
  }
}

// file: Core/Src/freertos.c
/* USER CODE BEGIN Header */
/**
 ******************************************************************************
 * File Name          : freertos.c
 * Description        : Code for freertos applications
 ******************************************************************************
 * @attention
 *
 * Copyright (c) 2025 STMicroelectronics.
 * All rights reserved.
 *
 * This software is licensed under terms that can be found in the LICENSE file
 * in the root directory of this software component.
 * If no LICENSE file comes with this software, it is provided AS-IS.
 *
 ******************************************************************************
 */
/* USER CODE END Header */

#include "FreeRTOS.h"
#include "task.h"
#include "main.h"
#include "cmsis_os.h"

/* USER CODE BEGIN Includes */

#include "remote_control.h"
#include "Chassis_helm.h"
#include "Gimbal.h"
#include "Global_status.h"
#include "Auto_control.h"
#include "shoot.h"
#include "music.h"

#include "referee_system.h"
#include "supercup.h"
#include "LED.h"
#include "DT7.h"
#include "VT13.h"
#include "motor.h"
#include <cmsis_os2.h>
#include "ui.h"

#include "iwdg.h"
#include "buzzer.h"
/* USER CODE END Includes */

/* USER CODE BEGIN Variables */
uint32_t color = 0;
volatile uint8_t motor_kill_switch = 0; // KEY按键电机失能标志
/* USER CODE END Variables */
/* Definitions for Remote_control */
osThreadId_t Remote_controlHandle;
const osThreadAttr_t Remote_control_attributes = {
    .name = "Remote_control",
    .stack_size = 512 * 4,
    .priority = (osPriority_t)osPriorityNormal,
};
/* Definitions for Gimbal */
osThreadId_t GimbalHandle;
const osThreadAttr_t Gimbal_attributes = {
    .name = "Gimbal",
    .stack_size = 512 * 4,
    .priority = (osPriority_t)osPriorityLow,
};
/* Definitions for Chassis */
osThreadId_t ChassisHandle;
const osThreadAttr_t Chassis_attributes = {
    .name = "Chassis",
    .stack_size = 1024 * 4,
    .priority = (osPriority_t)osPriorityLow,
};
/* Definitions for Motor_control */
osThreadId_t Motor_controlHandle;
const osThreadAttr_t Motor_control_attributes = {
    .name = "Motor_control",
    .stack_size = 256 * 4,
    .priority = (osPriority_t)osPriorityLow,
};
/* Definitions for Shoot */
osThreadId_t ShootHandle;
const osThreadAttr_t Shoot_attributes = {
    .name = "Shoot",
    .stack_size = 256 * 4,
    .priority = (osPriority_t)osPriorityLow,
};
/* Definitions for Referee */
osThreadId_t RefereeHandle;
const osThreadAttr_t Referee_attributes = {
    .name = "Referee",
    .stack_size = 512 * 4,
    .priority = (osPriority_t)osPriorityLow,
};
/* Definitions for Log_and_debug */
osThreadId_t Log_and_debugHandle;
const osThreadAttr_t Log_and_debug_attributes = {
    .name = "Log_and_debug",
    .stack_size = 256 * 4,
    .priority = (osPriority_t)osPriorityLow,
};

void Remote_control_Task(void *argument);
void Gimbal_Task(void *argument);
void Chassis_Task(void *argument);
void Motor_control_Task(void *argument);
void Shoot_Task(void *argument);
void Referee_Task(void *argument);
void Log_and_debug_Task(void *argument);

extern void MX_USB_DEVICE_Init(void);
void MX_FREERTOS_Init(void); /* (MISRA C 2004 rule 8.1) */

/* Hook prototypes */
void vApplicationIdleHook(void);

/* USER CODE BEGIN 2 */
void vApplicationIdleHook(void)
{
  /* vApplicationIdleHook() will only be called if configUSE_IDLE_HOOK is set
  to 1 in FreeRTOSConfig.h. It will be called on each iteration of the idle
  task. It is essential that code added to this hook function never attempts
  to block in any way (for example, call xQueueReceive() with a block time
  specified, or call vTaskDelay()). If the application makes use of the
  vTaskDelete() API function (as this demo application does) then it is also
  important that vApplicationIdleHook() is permitted to return to its calling
  function, because it is the responsibility of the idle task to clean up
  memory allocated by the kernel to any task that has since been deleted. */
}
/* USER CODE END 2 */

void MX_FREERTOS_Init(void)
{

  /* Create the thread(s) */
  /* creation of Remote_control */
  Remote_controlHandle = osThreadNew(Remote_control_Task, NULL, &Remote_control_attributes);

  /* creation of Gimbal */
  GimbalHandle = osThreadNew(Gimbal_Task, NULL, &Gimbal_attributes);

  /* creation of Chassis */
  ChassisHandle = osThreadNew(Chassis_Task, NULL, &Chassis_attributes);

  /* creation of Motor_control */
  Motor_controlHandle = osThreadNew(Motor_control_Task, NULL, &Motor_control_attributes);

  /* creation of Shoot */
  ShootHandle = osThreadNew(Shoot_Task, NULL, &Shoot_attributes);

  /* creation of Referee */
  RefereeHandle = osThreadNew(Referee_Task, NULL, &Referee_attributes);

  /* creation of Log_and_debug */
  Log_and_debugHandle = osThreadNew(Log_and_debug_Task, NULL, &Log_and_debug_attributes);

}

void Remote_control_Task(void *argument)
{
  /* init code for USB_DEVICE */
  MX_USB_DEVICE_Init();
  /* USER CODE BEGIN Remote_control_Task */

  /* Infinite loop */
  for (;;)
  {
    osDelay(1);
    Remote_Tasks();
    osDelay(1);
  }
  /* USER CODE END Remote_control_Task */
}

void Gimbal_Task(void *argument)
{
  /* USER CODE BEGIN Gimbal_Task */
  osDelay(500);
  Gimbal_Init();
  /* Infinite loop */
  for (;;)
  {
    Gimbal_Tasks();
    osDelay(1);
  }
  /* USER CODE END Gimbal_Task */
}

void Chassis_Task(void *argument)
{
  /* USER CODE BEGIN Chassis_Task */
  osDelay(500);
  Chassis_Init();
  /* Infinite loop */
  for (;;)
  {
    Chassis_Tasks();
    Supercup_SendData();
    osDelay(1);
  }
  /* USER CODE END Chassis_Task */
}

void Motor_control_Task(void *argument)
{
  /* USER CODE BEGIN Motor_control_Task */
  static uint8_t key_last = 1; // 上次按键状态（上拉，默认高）
  /* Infinite loop */
  for (;;)
  {
    // KEY按键检测（PA15，低电平有效，按一次切换）
    uint8_t key_now = HAL_GPIO_ReadPin(GPIOA, GPIO_PIN_15);
    if (key_last == 1 && key_now == 0)
    { // 下降沿
      motor_kill_switch = !motor_kill_switch;
    }
    key_last = key_now;

    if (motor_kill_switch)
    {
      // 电机失能：清零所有电机电流并继续发送
      for (int i = 0; i < DJI_MOTOR_NUM && Gimbal.yaw_location_now <= 2 && Gimbal.yaw_location_now >= -2; i++)
        DJIMotor_Set(0, (DJIcan_id)i);

      DMMotor_Set(DM_CAN_2_2,
                  0.0f,
                  0.0f, // vel=0 目标速度为零
                  0.0f,
                  0.0f,
                  1.0f); // kd>0 提供阻尼，主动刹车
    }
    DJIMotor_SendCurrent(CAN_20063508_1_4_ID, DJI_CAN_2);
    DMMotor_SendCtrl(DM_CAN_2_2);
    HAL_IWDG_Refresh(&hiwdg1);
    // Fdcanx_SendData(&hfdcan1,0x200,can_data,8);
    osDelay(1);
  }
  /* USER CODE END Motor_control_Task */
}

void Shoot_Task(void *argument)
{
  /* USER CODE BEGIN Shoot_Task */
  osDelay(500);
  Shoot_Init();
  /* Infinite loop */
  for (;;)
  {

    if (Global.Auto.mode != NONE && Global.Auto.input.Auto_control_online > 0 && Global.Auto.input.fire != -1)
      Auto_Control();
    Shoot_Tasks();
    osDelay(1);
  }
  /* USER CODE END Shoot_Task */
}

void Referee_Task(void *argument)
{
  /* USER CODE BEGIN Referee_Task */
  Refree_system_init();
  // 等待裁判系统上线，获取正确的robot_id
  while (Referee_data.robot_id == 0)
  {
    Referee_unpack_fifo_data(&referee_fifo, &referee_unpack_obj);
    osDelay(100);
  }
  ui_self_id = Referee_data.robot_id;
  ui_init_helm();
  osDelay(200); // 等待裁判系统处理ADD帧
  /* Infinite loop */
  int reinit_cnt = 0;
  for (;;)
  {
    Referee_unpack_fifo_data(&referee_fifo, &referee_unpack_obj);
    ui_self_id = Referee_data.robot_id;
    Supercapui_change(cap.remain_vol);
    Shootui_change();
    Chassisui_change(chassis.relative_angle);
    Autoui_change();
    // 每10秒重新发送一次ADD，防止图形丢失
    reinit_cnt++;
    if (reinit_cnt >= 100)
    {
      reinit_cnt = 0;
      ui_init_helm();
      osDelay(100);
    }
    ui_updata();
    osDelay(100);
  }
  /* USER CODE END Referee_Task */
}

void Log_and_debug_Task(void *argument)
{
  /* USER CODE BEGIN Log_and_debug_Task */
  LED_ShowColor(RED);
  osDelay(500);
  LED_ShowColor(BLUE);
  osDelay(500);
  LED_ShowColor(GREEN);
  /* Infinite loop */
  for (;;)
  {
  }
  /* USER CODE END Log_and_debug_Task */
}
